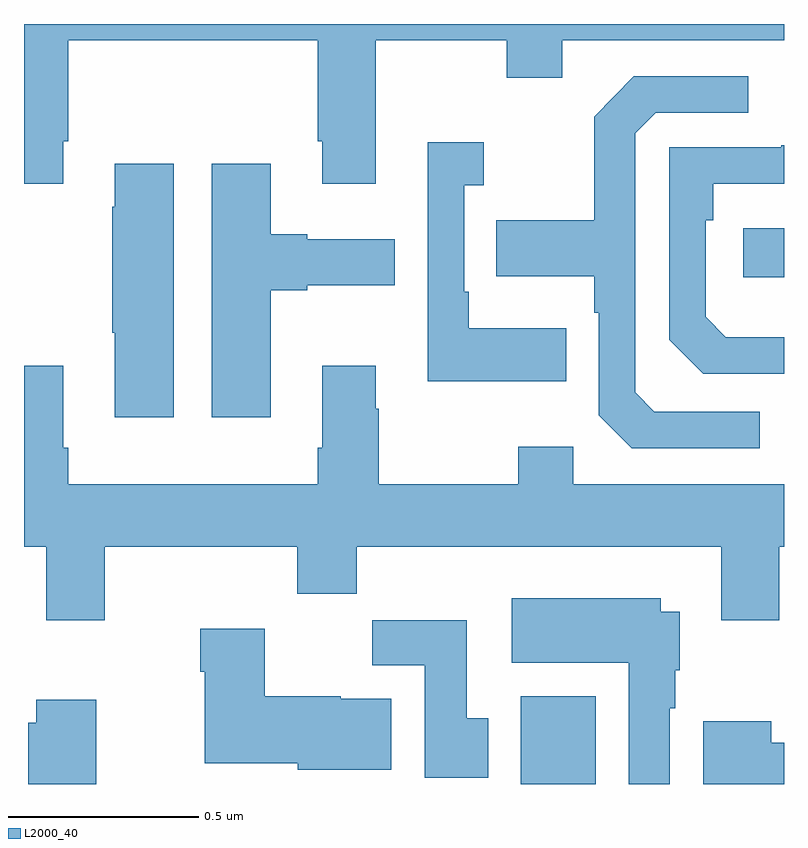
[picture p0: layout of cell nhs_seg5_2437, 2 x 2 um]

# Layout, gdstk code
import gdstk
lib = gdstk.Library(unit=1e-6, precision=1e-09)
def R(c, l, rs):  # rectangles x0, y0, x1, y1
    for r in rs: c.add(gdstk.rectangle(r[:2], r[2:], *l))
def P(c, l, *ps):  # polygons
    for p in ps: c.add(gdstk.Polygon(p, *l))
L2000_40 = (2000, 40)

nhs_seg5_2437 = lib.new_cell('nhs_seg5_2437')
R(nhs_seg5_2437, L2000_40, [(145.307,858.799,145.504,859.03), (145.893,860.132,146,860.262)])
P(nhs_seg5_2437, L2000_40, [(144,860.379),(144.103,860.379),(144.103,860.491),(144.116,860.491),(144.116,860.756),(144.773,860.756),(144.773,860.491),(144.785,860.491),(144.785,860.379),(144.925,860.379),(144.925,860.756),(145.27,860.756),(145.27,860.657),(145.417,860.657),(145.417,860.756),(146,860.756),(146,860.799),(144,860.799)],
  [(145.936,859.779),(145.659,859.779),(145.608,859.83),(145.608,860.511),(145.662,860.565),(145.906,860.565),(145.906,860.661),(145.605,860.661),(145.5,860.555),(145.5,860.283),(145.243,860.283),(145.243,860.135),(145.5,860.135),(145.5,860.039),(145.512,860.039),(145.512,859.77),(145.599,859.683),(145.936,859.683)],
  [(145.427,859.999),(145.171,859.999),(145.171,860.095),(145.158,860.095),(145.158,860.375),(145.21,860.375),(145.21,860.488),(145.062,860.488),(145.062,859.859),(145.427,859.859)],
  [(146,859.975),(145.847,859.975),(145.794,860.028),(145.794,860.282),(145.814,860.282),(145.814,860.379),(146,860.379),(146,860.48),(145.993,860.48),(145.993,860.475),(145.698,860.475),(145.698,859.968),(145.788,859.878),(146,859.878)],
  [(144.649,860.099),(144.745,860.099),(144.745,860.111),(144.976,860.111),(144.976,860.233),(144.745,860.233),(144.745,860.246),(144.649,860.246),(144.649,860.431),(144.494,860.431),(144.494,859.764),(144.649,859.764)],
  [(144.394,860.431),(144.239,860.431),(144.239,860.318),(144.232,860.318),(144.232,859.987),(144.239,859.987),(144.239,859.764),(144.394,859.764)],
  [(145.446,859.687),(145.3,859.687),(145.3,859.588),(144.933,859.588),(144.933,859.787),(144.925,859.787),(144.925,859.9),(144.785,859.9),(144.785,859.684),(144.773,859.684),(144.773,859.588),(144.116,859.588),(144.116,859.684),(144.103,859.684),(144.103,859.9),(144,859.9),(144,859.424),(144.059,859.424),(144.059,859.23),(144.212,859.23),(144.212,859.424),(144.719,859.424),(144.719,859.3),(144.875,859.3),(144.875,859.424),(145.835,859.424),(145.835,859.23),(145.988,859.23),(145.988,859.424),(146,859.424),(146,859.588),(145.446,859.588)],
  [(145.699,858.998),(145.714,858.998),(145.714,859.098),(145.726,859.098),(145.726,859.252),(145.675,859.252),(145.675,859.288),(145.283,859.288),(145.283,859.118),(145.592,859.118),(145.592,858.799),(145.699,858.799)],
  [(145.222,858.972),(145.165,858.972),(145.165,859.23),(144.916,859.23),(144.916,859.112),(145.055,859.112),(145.055,858.816),(145.222,858.816)],
  [(144.967,859.024),(144.834,859.024),(144.834,859.03),(144.634,859.03),(144.634,859.207),(144.464,859.207),(144.464,859.094),(144.476,859.094),(144.476,858.854),(144.72,858.854),(144.72,858.836),(144.967,858.836)],
  [(144.19,859.021),(144.032,859.021),(144.032,858.96),(144.011,858.96),(144.011,858.799),(144.19,858.799)],
  [(146,858.908),(145.966,858.908),(145.966,858.964),(145.787,858.964),(145.787,858.799),(146,858.799)])

lib.write_gds('nhs_seg5_2437.gds')
